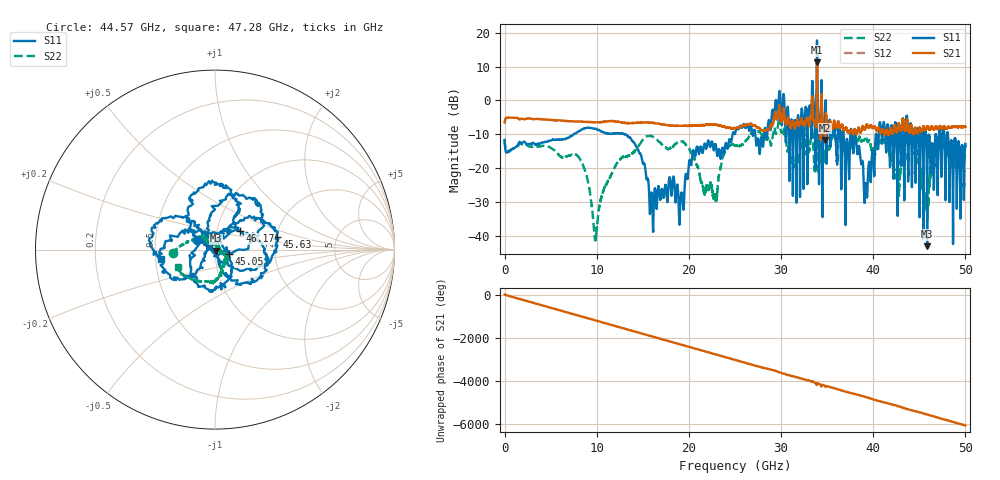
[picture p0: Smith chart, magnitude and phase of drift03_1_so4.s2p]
!Created with skrf (http://scikit-rf.org).
# Hz S RI R 50.0
!freq ReS11 ImS11 ReS21 ImS21 ReS12 ImS12 ReS22 ImS22
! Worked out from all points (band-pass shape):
!   10001 points, 300 kHz to 50 GHz, reference 50 ohm
!   highest |S21| = 11.30 dB at 33.9 GHz (marker M1); lowest = -11.7 dB at 34.79 GHz (marker M2)
!   |S21| within 3 dB of the highest: 33.89005 GHz to 33.90927 GHz (19.23 MHz wide, 0.0567 % of centre)
!   lowest |S11| = -43.1 dB at 45.85 GHz (marker M3), VSWR 1.01, Z = 50.4 - j0.548 ohm
!   |S11| at or under -10 dB: start of sweep to 7.486 GHz; 13.11 GHz to 24.74 GHz (11.63 GHz wide, 61.4 % of centre); 38.07 GHz to 40.29 GHz (2.219 GHz wide, 5.66 % of centre) (the widest 3 of 61)
!   |S22| runs from -41.4 to 3.4 dB; largest |S21 - S12| = 0.27
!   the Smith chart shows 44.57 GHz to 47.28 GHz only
!   S11 on the Smith chart (normalised r, x): 44.57 GHz: 0.81, +0.09; 45.05 GHz: 1.16, -0.06; 45.63 GHz: 2.01, +0.33; 46.17 GHz: 1.28, +0.28; 47.28 GHz: 0.54, -0.06
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300000  -0.2362 -0.112  0.4661 0.0755  0.4649 0.0769  -0.234 -0.1242
1.440291e9  0.2097 0.0644  -0.5475 -0.029  -0.5479 -0.0289  0.211 -0.00483
2.915283e9  -0.2119 -0.0875  0.534 0.0507  0.5342 0.0506  -0.2025 0.0401
4.415274e9  0.2068 0.1315  -0.5217 -0.0411  -0.5217 -0.0408  0.1969 -0.0877
8.33525e9  0.288 -0.2344  0.1479 0.465  0.1477 0.4652  -0.0732 -0.1002
9.860241e9  -0.3594 0.1383  -0.1628 -0.4468  -0.1629 -0.4465  0.00888 0.00223
1.66702e10  0.0286 0.0447  -0.3761 0.2555  -0.3764 0.2554  -0.1256 -0.2177
2.500015e10  -0.3254 -0.0116  -0.2569 -0.2926  -0.2559 -0.2951  -0.2137 0.0273
2.931512e10  -0.0389 0.7273  0.0378 0.6621  -0.00781 0.7477  0.1794 0.3497
3.084511e10  0.3275 -0.0324  -0.2437 -0.4463  -0.2475 -0.4431  -0.1933 -0.0561
3.33351e10  0.4835 -0.7975  0.2025 -0.7901  0.2069 -0.7732  -0.192 -0.389
3.39001e10  1.478 -7.542  -3.537 -0.9841  -3.41 -0.7526  -0.2908 1.449
3.478509e10  -0.7043 0.1479  -0.0236 0.2591  -0.0113 0.317  0.1089 -0.1402
3.918506e10  0.0555 0.0164  0.2021 -0.3509  0.2075 -0.348  -0.2695 -0.1217
4.167005e10  -0.1786 0.3062  0.3094 0.0061  0.3107 0.0123  -0.1915 -0.00774
4.457003e10  -0.1008 0.0552  0.3935 0.0389  0.3936 0.0389  -0.2318 -0.0175
4.505003e10  0.0765 -0.0244  0.2828 -0.2797  0.2809 -0.2801  -0.0741 0.0809
4.563003e10  0.3436 0.072  -0.1455 -0.3427  -0.1444 -0.343  0.00648 0.0364
4.585002e10  0.00447 -0.00543  -0.3387 -0.2241  -0.3376 -0.228  0.0167 0.0145
4.617002e10  0.1368 0.1049  -0.374 0.0297  -0.3739 0.0288  0.0695 -0.0419
4.727502e10  -0.2993 -0.0505  0.3041 0.278  0.304 0.2748  -0.2073 -0.0946
5e10  -0.1153 -0.197  0.1439 0.3836  0.1446 0.3808  -0.0539 -0.1445
